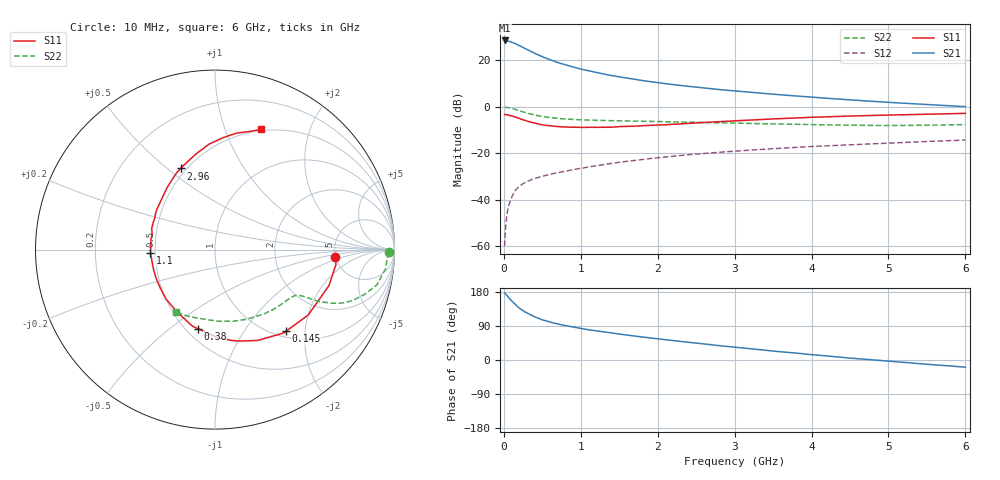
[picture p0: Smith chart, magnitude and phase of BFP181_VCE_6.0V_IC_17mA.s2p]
! Infineon Technologies  Discrete & RF Semiconductors
! BFP181
! VCE = 6.0 V,  IC =  17 mA
! Common Emitter S-Parameters:  Jan 2016
# GHz  S  MA  R  50
!  f  S11  S21  S12  S22
! GHz  MAG  ANG  MAG  ANG  MAG  ANG  MAG  ANG
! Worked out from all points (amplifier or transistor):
!   210 points, 10 MHz to 6 GHz, reference 50 ohm
!   highest |S21| = 28.4 dB at 10 MHz (marker M1)
!   |S21| within 3 dB of that: start of sweep to 248.7 MHz
!   unconditionally stable (mu >= 1): 925.3 MHz to 5.944 GHz
!   at 185 MHz: K = 0.35, MSG = 30.6 dB, |S12| = -34.8 dB
!   at 1.52 GHz: K = 1.14, MAG = 16.0 dB, |S12| = -23.8 dB
!   at 6 GHz: K = 0.99, MSG = 7.2 dB, |S12| = -14.4 dB
!   S11 on the Smith chart (normalised r, x): 10 MHz: 4.97, -0.74; 145 MHz: 1.11, -1.59; 380 MHz: 0.57, -0.63; 1.1 GHz: 0.47, -0.02; 2.96 GHz: 0.47, +0.56; 6 GHz: 0.49, +1.33
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0.01  0.6711 -3.5  26.39 176.7  0.001 76.4  0.969 -0.9
0.02  0.6789 -7.0  26.27 175.0  0.0022 83.0  0.9619 -2.3
0.05  0.666 -17.5  25.88 167.6  0.006 84.3  0.9563 -6.4
0.1  0.6346 -35.1  24.36 156.2  0.011 73.2  0.9233 -12.3
0.145  0.603 -48.9  22.72 147.1  0.0153 68.7  0.8739 -16.3
0.2  0.5591 -64.9  20.67 137.2  0.0194 63.1  0.8161 -20.4
0.24  0.528 -74.8  19 131.3  0.0215 61.2  0.7766 -22.4
0.3  0.4916 -88.0  16.92 124.0  0.0245 58.0  0.7239 -24.4
0.38  0.4503 -102.4  14.55 116.1  0.0278 55.9  0.6709 -25.9
0.4  0.4449 -106.4  14.01 113.7  0.0286 55.5  0.6577 -26.3
0.5  0.4055 -121.9  11.76 106.0  0.0317 53.0  0.6116 -27.1
0.6  0.3879 -134.7  10.19 100.1  0.0351 53.5  0.5794 -27.5
0.8  0.3647 -154.6  7.903 90.7  0.0409 53.4  0.5415 -28.3
1.02  0.3572 -171.9  6.291 82.6  0.0476 53.8  0.5182 -29.5
1.1  0.3602 -177.3  5.878 79.8  0.0505 53.7  0.5124 -30.1
1.5  0.372 161.6  4.353 68.4  0.0636 53.7  0.4939 -33.8
2.02  0.4022 139.9  3.226 55.5  0.0802 51.2  0.4764 -40.6
2.96  0.4911 113.0  2.199 34.6  0.1091 44.8  0.443 -55.6
3.1  0.5034 109.7  2.1 32.0  0.1131 43.7  0.4373 -58.1
4.1  0.5954 91.6  1.552 12.5  0.1412 35.7  0.4075 -78.5
5.1  0.6643 78.4  1.207 -4.6  0.1665 28.2  0.3926 -101.3
6  0.7161 69.2  0.997 -19.0  0.191 20.9  0.411 -122.3
